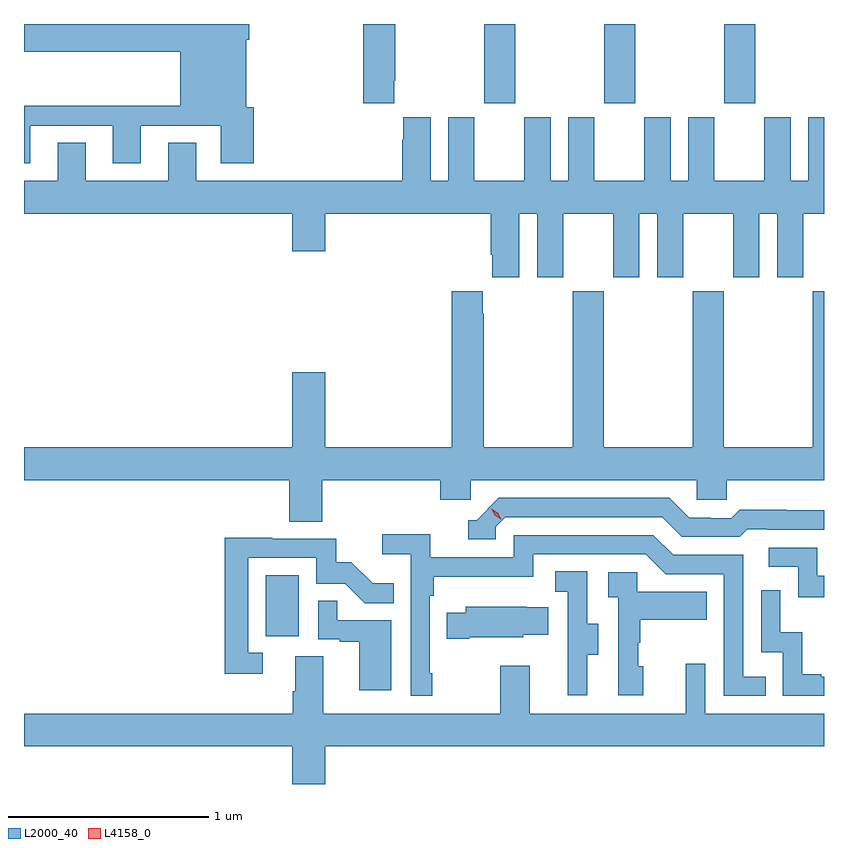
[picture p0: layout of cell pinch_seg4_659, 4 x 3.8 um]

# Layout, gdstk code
import gdstk
lib = gdstk.Library(unit=1e-6, precision=1e-09)
def R(c, l, rs):  # rectangles x0, y0, x1, y1
    for r in rs: c.add(gdstk.rectangle(r[:2], r[2:], *l))
def A(c, l, x, y, w, h, nx, ny, dx, dy):  # array of equal rectangles
    R(c, l, [(x+i*dx, y+j*dy, x+i*dx+w, y+j*dy+h) for i in range(nx) for j in range(ny)])
def P(c, l, *ps):  # polygons
    for p in ps: c.add(gdstk.Polygon(p, *l))
L2000_40 = (2000, 40)
L4158_0 = (4158, 0)

pinch_seg4_659 = lib.new_cell('pinch_seg4_659')
A(pinch_seg4_659, L2000_40, 1142.989, 764.073, 0.155, 0.395, 3, 1, 0.6, 0)
R(pinch_seg4_659, L2000_40, [(1141.898,761.406,1142.062,761.713)])
P(pinch_seg4_659, L2000_40, [(1140.721,763.959),(1141.133,763.959),(1141.133,763.773),(1141.273,763.773),(1141.273,763.959),(1141.673,763.959),(1141.673,763.773),(1141.838,763.773),(1141.838,764.052),(1141.801,764.052),(1141.801,764.39),(1141.814,764.39),(1141.814,764.468),(1140.689,764.468),(1140.689,764.33),(1141.469,764.33),(1141.469,764.06),(1140.689,764.06),(1140.689,763.773),(1140.721,763.773)],
  [(1142.539,764.185),(1142.544,764.185),(1142.544,764.468),(1142.384,764.468),(1142.384,764.073),(1142.539,764.073)],
  [(1143.166,763.52),(1143.254,763.52),(1143.254,763.203),(1143.385,763.203),(1143.385,763.52),(1143.635,763.52),(1143.635,763.203),(1143.766,763.203),(1143.766,763.52),(1143.854,763.52),(1143.854,763.203),(1143.985,763.203),(1143.985,763.52),(1144.235,763.52),(1144.235,763.203),(1144.366,763.203),(1144.366,763.52),(1144.454,763.52),(1144.454,763.203),(1144.585,763.203),(1144.585,763.52),(1144.689,763.52),(1144.689,764.002),(1144.61,764.002),(1144.61,763.684),(1144.522,763.684),(1144.522,764.002),(1144.391,764.002),(1144.391,763.684),(1144.141,763.684),(1144.141,764.002),(1144.01,764.002),(1144.01,763.684),(1143.922,763.684),(1143.922,764.002),(1143.791,764.002),(1143.791,763.684),(1143.541,763.684),(1143.541,764.002),(1143.41,764.002),(1143.41,763.684),(1143.322,763.684),(1143.322,764.002),(1143.191,764.002),(1143.191,763.684),(1142.941,763.684),(1142.941,764.002),(1142.81,764.002),(1142.81,763.684),(1142.722,763.684),(1142.722,764.002),(1142.585,764.002),(1142.585,763.889),(1142.579,763.889),(1142.579,763.684),(1141.549,763.684),(1141.549,763.874),(1141.409,763.874),(1141.409,763.684),(1140.997,763.684),(1140.997,763.874),(1140.857,763.874),(1140.857,763.684),(1140.689,763.684),(1140.689,763.52),(1142.03,763.52),(1142.03,763.332),(1142.194,763.332),(1142.194,763.52),(1143.023,763.52),(1143.023,763.315),(1143.029,763.315),(1143.029,763.203),(1143.166,763.203)],
  [(1142.18,762.188),(1142.771,762.188),(1142.771,762.09),(1142.922,762.09),(1142.922,762.188),(1144.053,762.188),(1144.053,762.09),(1144.203,762.09),(1144.203,762.188),(1144.689,762.188),(1144.689,763.132),(1144.633,763.132),(1144.633,762.352),(1144.188,762.352),(1144.188,763.132),(1144.033,763.132),(1144.033,762.352),(1143.588,762.352),(1143.588,763.132),(1143.433,763.132),(1143.433,762.352),(1142.988,762.352),(1142.988,763.019),(1142.983,763.019),(1142.983,763.132),(1142.828,763.132),(1142.828,762.352),(1142.194,762.352),(1142.194,762.727),(1142.03,762.727),(1142.03,762.352),(1140.689,762.352),(1140.689,762.188),(1142.015,762.188),(1142.015,761.98),(1142.18,761.98)],
  [(1143.048,761.955),(1143.096,762.003),(1143.879,762.003),(1143.978,761.904),(1144.267,761.904),(1144.306,761.943),(1144.405,761.943),(1144.405,761.94),(1144.689,761.94),(1144.689,762.037),(1144.5,762.037),(1144.5,762.04),(1144.267,762.04),(1144.225,761.997),(1144.122,761.997),(1144.122,762),(1144.015,762),(1143.916,762.099),(1143.063,762.099),(1142.952,761.988),(1142.909,761.988),(1142.909,761.892),(1143.048,761.892)],
  [(1142.731,761.221),(1142.718,761.221),(1142.718,761.609),(1142.738,761.609),(1142.738,761.705),(1143.234,761.705),(1143.234,761.817),(1143.798,761.817),(1143.897,761.718),(1144.188,761.718),(1144.188,761.109),(1144.397,761.109),(1144.397,761.205),(1144.284,761.205),(1144.284,761.814),(1143.934,761.814),(1143.835,761.913),(1143.138,761.913),(1143.138,761.802),(1142.72,761.802),(1142.72,761.918),(1142.481,761.918),(1142.481,761.816),(1142.622,761.816),(1142.622,761.109),(1142.731,761.109)],
  [(1141.882,761.325),(1141.809,761.325),(1141.809,761.799),(1142.151,761.799),(1142.151,761.67),(1142.295,761.67),(1142.393,761.572),(1142.537,761.572),(1142.537,761.671),(1142.433,761.671),(1142.326,761.778),(1142.25,761.778),(1142.25,761.895),(1141.931,761.895),(1141.931,761.9),(1141.693,761.9),(1141.693,761.22),(1141.882,761.22)],
  [(1144.689,761.709),(1144.656,761.709),(1144.656,761.85),(1144.413,761.85),(1144.413,761.754),(1144.56,761.754),(1144.56,761.601),(1144.689,761.601)],
  [(1143.505,761.314),(1143.559,761.314),(1143.559,761.469),(1143.504,761.469),(1143.504,761.732),(1143.345,761.732),(1143.345,761.629),(1143.408,761.629),(1143.408,761.325),(1143.407,761.325),(1143.407,761.112),(1143.505,761.112)],
  [(1143.784,761.256),(1143.759,761.256),(1143.759,761.375),(1143.769,761.375),(1143.769,761.489),(1144.103,761.489),(1144.103,761.629),(1143.756,761.629),(1143.756,761.727),(1143.609,761.727),(1143.609,761.603),(1143.66,761.603),(1143.66,761.112),(1143.784,761.112)],
  [(1144.689,761.205),(1144.675,761.205),(1144.675,761.218),(1144.58,761.218),(1144.58,761.426),(1144.47,761.426),(1144.47,761.638),(1144.374,761.638),(1144.374,761.328),(1144.482,761.328),(1144.482,761.109),(1144.689,761.109)],
  [(1142.524,761.487),(1142.255,761.487),(1142.255,761.585),(1142.16,761.585),(1142.16,761.391),(1142.267,761.391),(1142.267,761.379),(1142.366,761.379),(1142.366,761.136),(1142.524,761.136)],
  [(1142.914,761.402),(1143.186,761.402),(1143.186,761.414),(1143.311,761.414),(1143.311,761.551),(1143.203,761.551),(1143.203,761.554),(1142.897,761.554),(1142.897,761.524),(1142.803,761.524),(1142.803,761.395),(1142.914,761.395)],
  [(1142.194,760.856),(1144.689,760.856),(1144.689,761.02),(1144.095,761.02),(1144.095,761.269),(1143.998,761.269),(1143.998,761.02),(1143.217,761.02),(1143.217,761.26),(1143.07,761.26),(1143.07,761.02),(1142.185,761.02),(1142.185,761.306),(1142.045,761.306),(1142.045,761.132),(1142.033,761.132),(1142.033,761.02),(1140.689,761.02),(1140.689,760.856),(1142.03,760.856),(1142.03,760.668),(1142.194,760.668)])
P(pinch_seg4_659, L4158_0, [(1143.073,761.991),(1143.043,762.011),(1143.028,762.043),(1143.028,762.044),(1143.028,762.044),(1143.058,762.024),(1143.074,761.991),(1143.074,761.991)])

lib.write_gds('pinch_seg4_659.gds')
